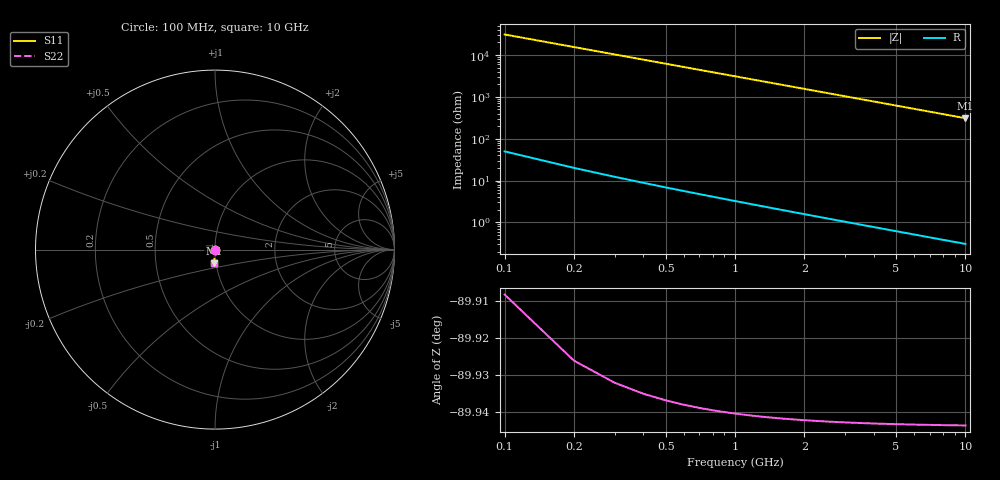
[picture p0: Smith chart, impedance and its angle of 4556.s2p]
# Hz S RI R 50.00
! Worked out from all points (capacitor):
!   100 points, 100 MHz to 10 GHz, reference 50 ohm
!   read as one part in shunt: C = 51.2 fF near 100 MHz
!   lowest |Z| = 309 ohm at 10 GHz (marker M1)
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1e8  2.14e-05 -0.000757  1 -0.000851  1 -0.000851  2.14e-05 -0.000757
2e8  1.89e-05 -0.00151  1 -0.0017  1 -0.0017  1.89e-05 -0.00151
3e8  1.5e-05 -0.00227  1 -0.00255  1 -0.00255  1.5e-05 -0.00227
4e8  9.8e-06 -0.00303  1 -0.0034  1 -0.0034  9.8e-06 -0.00303
5e8  3.3e-06 -0.00379  1 -0.00425  1 -0.00425  3.3e-06 -0.00379
6e8  -4.5e-06 -0.00454  0.9999 -0.0051  0.9999 -0.0051  -4.5e-06 -0.00454
7e8  -1.36e-05 -0.0053  0.9999 -0.00596  0.9999 -0.00596  -1.36e-05 -0.0053
8e8  -2.4e-05 -0.00606  0.9999 -0.00681  0.9999 -0.00681  -2.4e-05 -0.00606
9e8  -3.57e-05 -0.00682  0.9999 -0.00766  0.9999 -0.00766  -3.57e-05 -0.00682
1.1e9  -6.29e-05 -0.00833  0.9999 -0.00936  0.9999 -0.00936  -6.29e-05 -0.00833
1.4e9  -0.000113 -0.0106  0.9998 -0.0119  0.9998 -0.0119  -0.000113 -0.0106
1.8e9  -0.000199 -0.0136  0.9998 -0.0153  0.9998 -0.0153  -0.000199 -0.0136
2.1e9  -0.000277 -0.0159  0.9997 -0.0179  0.9997 -0.0179  -0.000277 -0.0159
2.5e9  -0.000398 -0.0189  0.9995 -0.0213  0.9995 -0.0213  -0.000398 -0.0189
2.9e9  -0.000541 -0.022  0.9994 -0.0247  0.9994 -0.0247  -0.000541 -0.022
3.4e9  -0.000748 -0.0258  0.9992 -0.0289  0.9992 -0.0289  -0.000748 -0.0258
4.2e9  -0.00115 -0.0318  0.9988 -0.0358  0.9988 -0.0358  -0.00115 -0.0318
5.1e9  -0.00169 -0.0386  0.9982 -0.0434  0.9982 -0.0434  -0.00169 -0.0386
5.9e9  -0.00227 -0.0447  0.9977 -0.0502  0.9977 -0.0502  -0.00227 -0.0447
6.7e9  -0.00293 -0.0507  0.997 -0.057  0.997 -0.057  -0.00293 -0.0507
8.4e9  -0.0046 -0.0636  0.9953 -0.0715  0.9953 -0.0715  -0.0046 -0.0636
1e10  -0.00652 -0.0756  0.9934 -0.085  0.9934 -0.085  -0.00652 -0.0756
